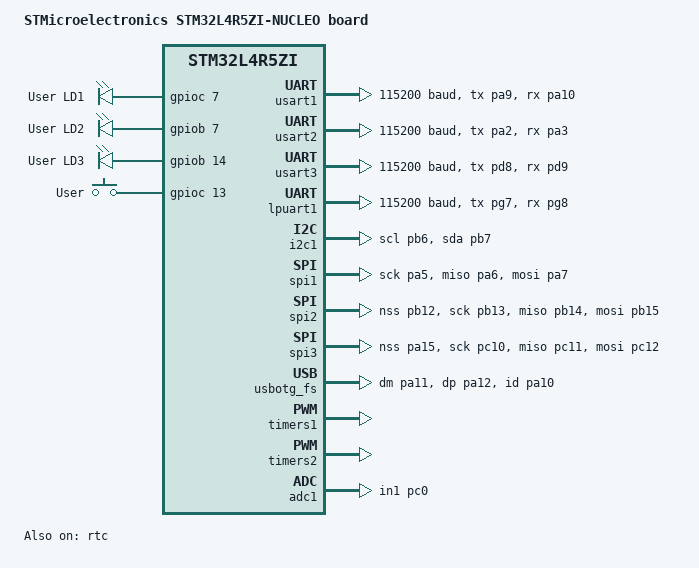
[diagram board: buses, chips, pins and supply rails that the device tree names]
/*
 * Copyright (c) 2018 Pushpal Sidhu
 *
 * SPDX-License-Identifier: Apache-2.0
 */

/dts-v1/;
#include <st/l4/stm32l4r5Xi.dtsi>
#include <st/l4/stm32l4r5z(g-i)tx-pinctrl.dtsi>
#include "arduino_r3_connector.dtsi"

/ {
	model = "STMicroelectronics STM32L4R5ZI-NUCLEO board";
	compatible = "st,stm32l4r5zi-nucleo";

	chosen {
		zephyr,console = &lpuart1;
		zephyr,shell-uart = &lpuart1;
		zephyr,sram = &sram0;
		zephyr,flash = &flash0;
	};

	leds {
		compatible = "gpio-leds";
		green_led_0: led_0 {
			gpios = <&gpioc 7 GPIO_ACTIVE_HIGH>;
			label = "User LD1";
		};

		blue_led_0: led_1 {
			gpios = <&gpiob 7 GPIO_ACTIVE_HIGH>;
			label = "User LD2";
		};

		red_led_0: led_2 {
			gpios = <&gpiob 14 GPIO_ACTIVE_HIGH>;
			label = "User LD3";
		};
	};

	gpio_keys {
		compatible = "gpio-keys";
		user_button: button {
			label = "User";
			gpios = <&gpioc 13 GPIO_ACTIVE_HIGH>;
		};
	};

	pwmleds: pwmleds {
		compatible = "pwm-leds";
		/* NOTE: disabled by default, PWM1 conflicts with SPI2 */
		status = "disabled";

		red_pwm_led: red_pwm_led {
			pwms = <&pwm1 2 PWM_MSEC(20) (PWM_POLARITY_NORMAL |
						      PWM_STM32_COMPLEMENTARY)>;
		};
	};

	aliases {
		led0 = &green_led_0;
		led1 = &blue_led_0;
		led2 = &red_led_0;
		sw0 = &user_button;
		pwm-led0 = &red_pwm_led;
	};
};

&clk_hsi {
	status = "okay";
};

&pll {
	div-m = <4>;
	mul-n = <40>;
	div-p = <7>;
	div-q = <2>;
	div-r = <2>;
	clocks = <&clk_hsi>;
	status = "okay";
};

&rcc {
	clocks = <&pll>;
	clock-frequency = <DT_FREQ_M(80)>;
	ahb-prescaler = <1>;
	apb1-prescaler = <1>;
	apb2-prescaler = <1>;
};

&usart1 {
	pinctrl-0 = <&usart1_tx_pa9 &usart1_rx_pa10>;
	pinctrl-names = "default";
	current-speed = <115200>;
	status = "okay";
};

&usart2 {
	pinctrl-0 = <&usart2_tx_pa2 &usart2_rx_pa3>;
	pinctrl-names = "default";
	current-speed = <115200>;
	status = "okay";
};

&usart3 {
	pinctrl-0 = <&usart3_tx_pd8 &usart3_rx_pd9>;
	pinctrl-names = "default";
	current-speed = <115200>;
	status = "okay";
};

&lpuart1 {
	pinctrl-0 = <&lpuart1_tx_pg7 &lpuart1_rx_pg8>;
	pinctrl-names = "default";
	current-speed = <115200>;
	status = "okay";
};

&i2c1 {
	pinctrl-0 = <&i2c1_scl_pb6 &i2c1_sda_pb7>;
	pinctrl-names = "default";
	status = "okay";
};

&spi1 {
	pinctrl-0 = <&spi1_sck_pa5 &spi1_miso_pa6 &spi1_mosi_pa7>;
	pinctrl-names = "default";
	cs-gpios = <&gpiod 14 (GPIO_ACTIVE_LOW | GPIO_PULL_UP)>;
	status = "okay";
};

&spi2 {
	pinctrl-0 = <&spi2_nss_pb12 &spi2_sck_pb13
		     &spi2_miso_pb14 &spi2_mosi_pb15>;
	pinctrl-names = "default";
	status = "okay";
};

&spi3 {
	/* SPI3 on the ST Morpho Connector CN7 pins 17, 1, 2, 3*/
	pinctrl-0 = <&spi3_nss_pa15 &spi3_sck_pc10
		     &spi3_miso_pc11 &spi3_mosi_pc12>;
	pinctrl-names = "default";
	status = "okay";
};

zephyr_udc0: &usbotg_fs {
	pinctrl-0 = <&usb_otg_fs_dm_pa11 &usb_otg_fs_dp_pa12
		     &usb_otg_fs_id_pa10>;
	pinctrl-names = "default";
	status = "okay";
};

&timers1 {
	status = "okay";

	pwm1: pwm {
		/* NOTE: disabled by default, PWM1 conflicts with SPI2 */
		pinctrl-0 = <&tim1_ch2n_pb14>;
		pinctrl-names = "default";
	};
};

&timers2 {
	status = "okay";

	pwm2: pwm {
		status = "okay";
		pinctrl-0 = <&tim2_ch1_pa0>;
		pinctrl-names = "default";
	};
};

&rtc {
	status = "okay";
};

&flash0 {
	partitions {
		compatible = "fixed-partitions";
		#address-cells = <1>;
		#size-cells = <1>;

		/* Reserve last 16KiB for property storage */
		storage_partition: partition@1FB000 {
			label = "storage";
			reg = <0x001FB000 DT_SIZE_K(16)>;
		};
	};
};

&adc1 {
	pinctrl-0 = <&adc1_in1_pc0>;
	pinctrl-names = "default";
	status = "okay";
};
